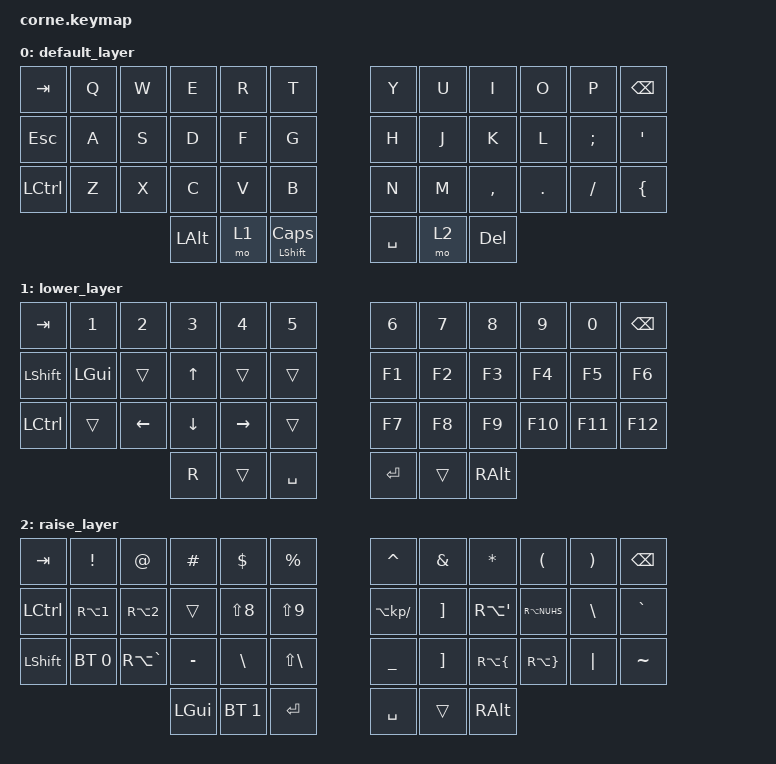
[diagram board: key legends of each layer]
/*
 * Copyright (c) 2020 The ZMK Contributors
 *
 * SPDX-License-Identifier: MIT
 */

#include <behaviors.dtsi>
#include <dt-bindings/zmk/bt.h>
#include <dt-bindings/zmk/keys.h>

/ {
    keymap {
        compatible = "zmk,keymap";

        default_layer {
            // -----------------------------------------------------------------------------------------
            // |  TAB |  Q  |  W  |  E  |  R  |  T  |   |  Y  |  U   |  I  |  O  |  P  | BSPC |
            // | CTRL |  A  |  S  |  D  |  F  |  G  |   |  H  |  J   |  K  |  L  |  ;  |  '   |
            // | SHFT |  Z  |  X  |  C  |  V  |  B  |   |  N  |  M   |  ,  |  .  |  /  | ESC  |
            //                    | GUI | LWR | SPC |   | ENT | RSE  | ALT |

            bindings = <
&kp TAB           &kp Q  &kp W  &kp E         &kp R  &kp T                      &kp Y      &kp U  &kp I       &kp O    &kp P          &kp BSPC
&kp ESCAPE        &kp A  &kp S  &kp D         &kp F  &kp G                      &kp H      &kp J  &kp K       &kp L    &kp SEMICOLON  &kp SINGLE_QUOTE
&kp LEFT_CONTROL  &kp Z  &kp X  &kp C         &kp V  &kp B                      &kp N      &kp M  &kp COMMA   &kp DOT  &kp FSLH       &kp LBRC
                                &kp LEFT_ALT  &mo 1  &mt LEFT_SHIFT CAPSLOCK    &kp SPACE  &mo 2  &kp DELETE
            >;
        };

        lower_layer {
            // -----------------------------------------------------------------------------------------
            // |  TAB |  1  |  2  |  3  |  4  |  5  |   |  6  |  7  |  8  |  9  |  0  | BSPC |
            // | BTCLR| BT1 | BT2 | BT3 | BT4 | BT5 |   | LFT | DWN |  UP | RGT |     |      |
            // | SHFT |     |     |     |     |     |   |     |     |     |     |     |      |
            //                    | GUI |     | SPC |   | ENT |     | ALT |

            bindings = <
&kp TAB           &kp N1        &kp N2    &kp N3    &kp N4     &kp N5       &kp N6     &kp N7  &kp N8    &kp N9   &kp N0   &kp BSPC
&kp LEFT_SHIFT    &kp LEFT_GUI  &trans    &kp UP    &trans     &trans       &kp F1     &kp F2  &kp F3    &kp F4   &kp F5   &kp F6
&kp LEFT_CONTROL  &trans        &kp LEFT  &kp DOWN  &kp RIGHT  &trans       &kp F7     &kp F8  &kp F9    &kp F10  &kp F11  &kp F12
                                          &kp R     &trans     &kp SPACE    &kp ENTER  &trans  &kp RALT
            >;
        };

        raise_layer {
            // -----------------------------------------------------------------------------------------
            // |  TAB |  !  |  @  |  #  |  $  |  %  |   |  ^  |  &  |  *  |  (  |  )  | BSPC |
            // | CTRL |     |     |     |     |     |   |  -  |  =  |  [  |  ]  |  \  |  `   |
            // | SHFT |     |     |     |     |     |   |  _  |  +  |  {  |  }  | "|" |  ~   |
            //                    | GUI |     | SPC |   | ENT |     | ALT |

            bindings = <
&kp TAB    &kp EXCL          &kp AT            &kp HASH   &kp DLLR      &kp PERCENT     &kp CARET          &kp AMPS  &kp ASTRK             &kp LPAR      &kp RPAR       &kp BSPC
&kp LCTRL  &kp RA(NUMBER_1)  &kp RA(NUMBER_2)  &trans     &kp LS(N8)    &kp LS(N9)      &kp LA(KP_DIVIDE)  &kp RBKT  &kp RA(SINGLE_QUOTE)  &kp RA(NUHS)  &kp BACKSLASH  &kp GRAVE
&kp LSHFT  &bt BT_SEL 0      &kp RA(GRAVE)     &kp MINUS  &kp BSLH      &kp LS(BSLH)    &kp UNDER          &kp RBKT  &kp RA(LBRC)          &kp RA(RBRC)  &kp PIPE       &kp TILDE
                                               &kp LGUI   &bt BT_SEL 1  &kp ENTER       &kp SPACE          &trans    &kp RALT
            >;
        };
    };
};
